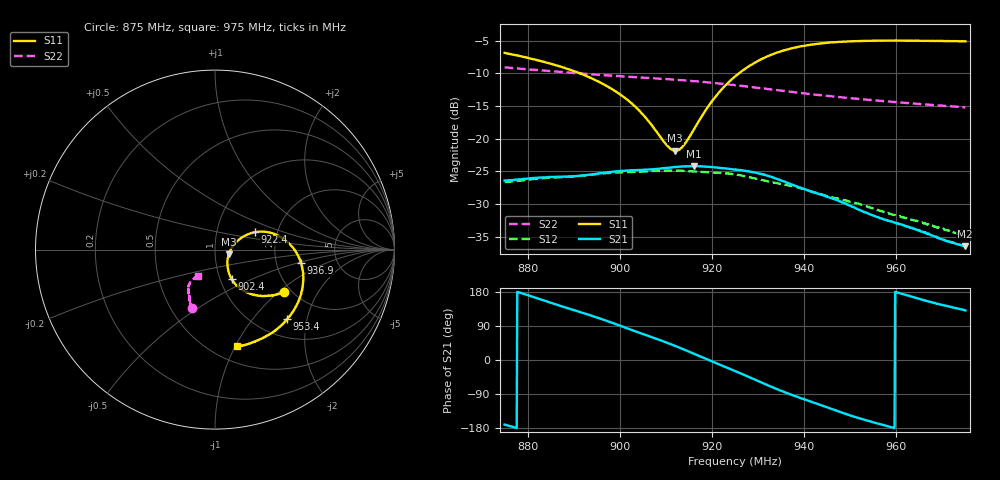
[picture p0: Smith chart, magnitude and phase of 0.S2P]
! C:\Users\rflab\Downloads\Lab5_KD_ZW\Q3\0.S2P
! Touchstone 1.1 file saved by VNA.EXE V1.65 (www.ke5fx.com/gpib/readme.htm)
! 11/18/2024 10:19:53 PM
!  Source: HEWLETT PACKARD,8753D,0,6.14
!  Min freq: 8.750000E+008 Hz
!  Max freq: 9.750200E+008 Hz
!  Points: 801
!  Params: S11 S21 S12 S22
# GHZ S MA R 50
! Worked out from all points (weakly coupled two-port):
!   801 points, 875 MHz to 975 MHz, reference 50 ohm
!   highest |S21| = -24.19 dB at 916.1 MHz (marker M1); lowest = -36.4 dB at 974.9 MHz (marker M2)
!   lowest |S11| = -21.9 dB at 912 MHz (marker M3), VSWR 1.18, Z = 58.2 - j3.12 ohm
!   |S11| at or under -10 dB: 891.3 MHz to 925.9 MHz (34.61 MHz wide, 3.81 % of centre)
!   |S22| runs from -15.2 to -9.1 dB; largest |S21 - S12| = 0.012
!   S11 on the Smith chart (normalised r, x): 875 MHz: 1.84, -1.09; 902.4 MHz: 1.13, -0.39; 922.4 MHz: 1.54, +0.32; 936.9 MHz: 2.77, -0.55; 953.4 MHz: 1.36, -1.53; 975 MHz: 0.66, -1.02
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0.875  0.4524 -31.5  0.04784 -170.4  0.04645 -160.0  0.3496 -112.0
0.8847519  0.3764 -43.5  0.05086 152.0  0.05018 160.9  0.3287 -114.9
0.8917534  0.3114 -51.7  0.05217 125.0  0.05218 132.4  0.3147 -116.6
0.8978796  0.2442 -58.1  0.05559 100.1  0.05459 105.6  0.3032 -117.9
0.9023805  0.1885 -60.6  0.05735 80.1  0.05566 85.7  0.2959 -118.9
0.905131  0.1511 -59.1  0.05774 68.3  0.05612 73.3  0.2921 -119.6
0.9083817  0.108 -50.1  0.05885 54.1  0.0568 58.5  0.2876 -120.5
0.9105071  0.08681 -35.2  0.05976 44.3  0.05699 48.5  0.2849 -121.1
0.9120074  0.0807 -19.3  0.06089 37.2  0.05703 41.1  0.2813 -121.3
0.9136327  0.087 -1.0  0.06139 29.2  0.05668 33.4  0.2793 -122.0
0.9161332  0.1187 17.4  0.06174 16.3  0.05606 21.7  0.2744 -122.8
0.9195089  0.1827 24.8  0.06078 -1.1  0.0553 5.7  0.2685 -123.9
0.9223845  0.2437 23.5  0.05936 -16.1  0.05463 -7.9  0.2623 -124.6
0.92501  0.2988 19.4  0.05813 -29.1  0.05309 -21.2  0.2562 -125.3
0.9305111  0.4018 6.9  0.05373 -58.2  0.04872 -47.6  0.2438 -126.4
0.9368874  0.4865 -9.0  0.04523 -90.0  0.04374 -76.3  0.2287 -126.9
0.9417633  0.524 -20.5  0.03924 -111.2  0.03931 -98.1  0.2183 -127.0
0.9533907  0.5579 -43.9  0.02732 -158.7  0.03042 -146.0  0.1988 -125.9
0.9583917  0.5625 -52.4  0.02354 -175.5  0.02676 -164.9  0.1921 -125.3
0.9667684  0.5589 -65.3  0.01877 155.1  0.02225 163.7  0.1821 -124.0
0.974895  0.5534 -76.9  0.01507 131.6  0.01819 135.6  0.1734 -122.5
0.97502  0.5539 -77.0  0.01517 130.6  0.01792 135.2  0.1731 -122.4
